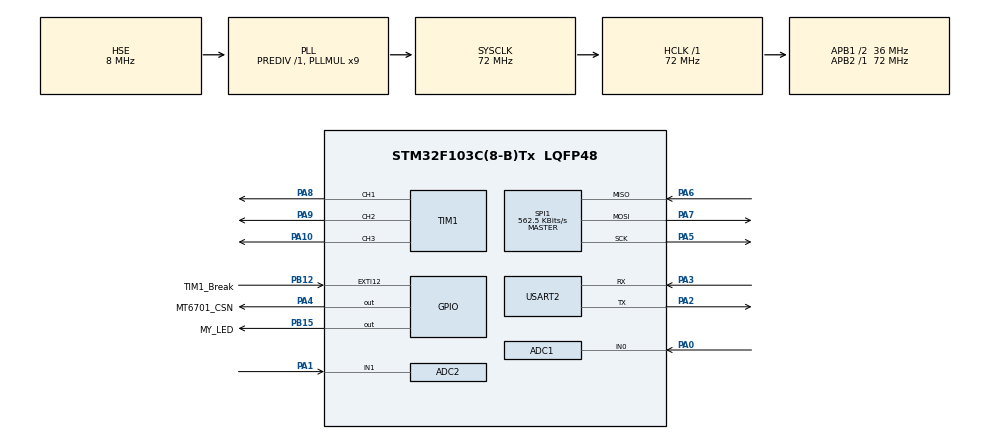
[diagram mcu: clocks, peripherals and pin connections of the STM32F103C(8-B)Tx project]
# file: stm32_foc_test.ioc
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ADC1.Channel-1\#ChannelInjectedConversion=ADC_CHANNEL_0
ADC1.ContinuousConvMode=ENABLE
ADC1.EnableAnalogWatchDog=false
ADC1.EnableInjectedConversion=ENABLE
ADC1.EnableRegularConversion=DISABLE
ADC1.ExternalTrigInjecConv=ADC_EXTERNALTRIGINJECCONV_T1_TRGO
ADC1.InjNumberOfConversion=1
ADC1.InjectedOffset-1\#ChannelInjectedConversion=0
ADC1.InjectedRank-1\#ChannelInjectedConversion=1
ADC1.Mode=ADC_DUALMODE_INJECSIMULT
ADC1.SamplingTime-1\#ChannelInjectedConversion=ADC_SAMPLETIME_7CYCLES_5
ADC1.master=1
ADC2.Channel-1\#ChannelInjectedConversion=ADC_CHANNEL_1
ADC2.ContinuousConvMode=ENABLE
ADC2.EnableInjectedConversion=ENABLE
ADC2.EnableRegularConversion=DISABLE
ADC2.InjNumberOfConversion=1
ADC2.InjectedOffset-1\#ChannelInjectedConversion=0
ADC2.InjectedRank-1\#ChannelInjectedConversion=1
ADC2.Mode=ADC_DUALMODE_INJECSIMULT
ADC2.SamplingTime-1\#ChannelInjectedConversion=ADC_SAMPLETIME_7CYCLES_5
Dma.Request0=SPI1_RX
Dma.Request1=SPI1_TX
Dma.SPI1_RX.0.Direction=DMA_PERIPH_TO_MEMORY
Dma.SPI1_RX.0.Instance=DMA1_Channel2
Dma.SPI1_RX.0.MemDataAlignment=DMA_MDATAALIGN_BYTE
Dma.SPI1_RX.0.MemInc=DMA_MINC_ENABLE
Dma.SPI1_RX.0.Mode=DMA_NORMAL
Dma.SPI1_RX.0.PeriphDataAlignment=DMA_PDATAALIGN_BYTE
Dma.SPI1_RX.0.PeriphInc=DMA_PINC_DISABLE
Dma.SPI1_RX.0.Priority=DMA_PRIORITY_LOW
Dma.SPI1_TX.1.Direction=DMA_MEMORY_TO_PERIPH
Dma.SPI1_TX.1.Instance=DMA1_Channel3
Dma.SPI1_TX.1.MemDataAlignment=DMA_MDATAALIGN_BYTE
Dma.SPI1_TX.1.MemInc=DMA_MINC_ENABLE
Dma.SPI1_TX.1.Mode=DMA_NORMAL
Dma.SPI1_TX.1.PeriphDataAlignment=DMA_PDATAALIGN_BYTE
Dma.SPI1_TX.1.PeriphInc=DMA_PINC_DISABLE
Dma.SPI1_TX.1.Priority=DMA_PRIORITY_LOW
Mcu.Family=STM32F1
Mcu.Name=STM32F103C(8-B)Tx
Mcu.Package=LQFP48
Mcu.UserConstants=speed_calc_freq,motor_speed_calc_freq;pwm_freq,motor_pwm_freq
NVIC.ADC1_2_IRQn=true\:1\:0\:true\:false\:true\:true\:true\:true
NVIC.DMA1_Channel2_IRQn=true\:0\:0\:false\:false\:true\:false\:true\:true
NVIC.DMA1_Channel3_IRQn=true\:0\:0\:false\:false\:true\:false\:true\:true
NVIC.EXTI15_10_IRQn=true\:3\:0\:true\:false\:true\:true\:true\:true
NVIC.PriorityGroup=NVIC_PRIORITYGROUP_4
NVIC.TIM1_BRK_IRQn=true\:0\:0\:false\:false\:true\:true\:true\:true
NVIC.TIM3_IRQn=true\:1\:0\:true\:false\:true\:true\:true\:true
PA0-WKUP.Signal=ADCx_IN0
PA1.Signal=ADCx_IN1
PA10.Signal=S_TIM1_CH3
PA13.Mode=Serial_Wire
PA13.Signal=SYS_JTMS-SWDIO
PA14.Mode=Serial_Wire
PA14.Signal=SYS_JTCK-SWCLK
PA2.Mode=Asynchronous
PA2.Signal=USART2_TX
PA3.Mode=Asynchronous
PA3.Signal=USART2_RX
PA4.GPIO_Label=MT6701_CSN
PA4.Signal=GPIO_Output
PA5.Mode=Full_Duplex_Master
PA5.Signal=SPI1_SCK
PA6.Mode=Full_Duplex_Master
PA6.Signal=SPI1_MISO
PA7.Mode=Full_Duplex_Master
PA7.Signal=SPI1_MOSI
PA8.Signal=S_TIM1_CH1
PA9.Signal=S_TIM1_CH2
PB12.GPIO_Label=TIM1_Break
PB12.Signal=GPXTI12
PB15.GPIO_Label=MY_LED
PB15.Signal=GPIO_Output
PD0-OSC_IN.Mode=HSE-External-Oscillator
PD0-OSC_IN.Signal=RCC_OSC_IN
PD1-OSC_OUT.Mode=HSE-External-Oscillator
PD1-OSC_OUT.Signal=RCC_OSC_OUT
ProjectManager.HeapSize=0x200
ProjectManager.StackSize=0x400
ProjectManager.TargetToolchain=MDK-ARM V5.32
RCC.ADCPresc=RCC_ADCPCLK2_DIV6
RCC.AHBFreq_Value=72000000
RCC.APB1CLKDivider=RCC_HCLK_DIV2
RCC.APB1Freq_Value=36000000
RCC.APB1TimFreq_Value=72000000
RCC.APB2Freq_Value=72000000
RCC.APB2TimFreq_Value=72000000
RCC.HCLKFreq_Value=72000000
RCC.PLLMUL=RCC_PLL_MUL9
RCC.PLLSourceVirtual=RCC_PLLSOURCE_HSE
RCC.SYSCLKFreq_VALUE=72000000
RCC.SYSCLKSource=RCC_SYSCLKSOURCE_PLLCLK
RCC.USBFreq_Value=72000000
SH.ADCx_IN0.0=ADC1_IN0,IN0
SH.ADCx_IN1.0=ADC2_IN1,IN1
SH.S_TIM1_CH1.0=TIM1_CH1,PWM Generation1 CH1
SH.S_TIM1_CH2.0=TIM1_CH2,PWM Generation2 CH2
SH.S_TIM1_CH3.0=TIM1_CH3,PWM Generation3 CH3
SPI1.BaudRatePrescaler=SPI_BAUDRATEPRESCALER_128
SPI1.CLKPhase=SPI_PHASE_2EDGE
SPI1.CalculateBaudRate=562.5 KBits/s
SPI1.Direction=SPI_DIRECTION_2LINES
SPI1.Mode=SPI_MODE_MASTER
SPI1.VirtualType=VM_MASTER
TIM1.AutoReloadPreload=TIM_AUTORELOAD_PRELOAD_ENABLE
TIM1.BreakPolarity=TIM_BREAKPOLARITY_LOW
TIM1.Channel-PWM\ Generation1\ CH1=TIM_CHANNEL_1
TIM1.Channel-PWM\ Generation2\ CH2=TIM_CHANNEL_2
TIM1.Channel-PWM\ Generation3\ CH3=TIM_CHANNEL_3
TIM1.CounterMode=TIM_COUNTERMODE_CENTERALIGNED3
TIM1.LockLevel=TIM_LOCKLEVEL_1
TIM1.Period=(72*1000000/motor_pwm_freq)
TIM1.RepetitionCounter=9
TIM1.TIM_MasterOutputTrigger=TIM_TRGO_UPDATE
TIM3.Period=1000000/speed_calc_freq
TIM3.Prescaler=72-1
USART2.VirtualMode=VM_ASYNC
VP_TIM1_VS_ClockSourceINT.Mode=Internal
VP_TIM3_VS_ClockSourceINT.Mode=Internal
board=custom

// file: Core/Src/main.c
/* USER CODE BEGIN Header */
/**
 ******************************************************************************
 * @file           : main.c
 * @brief          : Main program body
 ******************************************************************************
 * @attention
 *
 * Copyright (c) 2024 STMicroelectronics.
 * All rights reserved.
 *
 * This software is licensed under terms that can be found in the LICENSE file
 * in the root directory of this software component.
 * If no LICENSE file comes with this software, it is provided AS-IS.
 *
 ******************************************************************************
 */
// #if defined(__ARMCC_VERSION) && (__ARMCC_VERSION < 6000000)
// #error "不支持使用 Keil ARM Compiler V5编译器 请使用 Keil ARM Compiler V6编译"
// #endif
/* USER CODE END Header */
#include "main.h"
#include "adc.h"
#include "dma.h"
#include "spi.h"
#include "tim.h"
#include "usart.h"
#include "gpio.h"

/* USER CODE BEGIN Includes */
#include <stdio.h>
#include "motor/motor_runtime_param.h"
#include "motor/foc.h"
#include "global_def.h"
/* USER CODE END Includes */

void SystemClock_Config(void);

/* USER CODE BEGIN 0 */
//设置三相PWM占空比，范围0~0.9
void set_pwm_duty(float d_u, float d_v, float d_w)
{
  d_u = min(d_u, 0.9); // 留出10%的电流采样时间，只能小于0.9
  d_v = min(d_v, 0.9);
  d_w = min(d_w, 0.9);
  __disable_irq();
  __HAL_TIM_SET_COMPARE(&htim1, TIM_CHANNEL_1, d_u * htim1.Instance->ARR);
  __HAL_TIM_SET_COMPARE(&htim1, TIM_CHANNEL_2, d_v * htim1.Instance->ARR);
  __HAL_TIM_SET_COMPARE(&htim1, TIM_CHANNEL_3, d_w * htim1.Instance->ARR);
  __enable_irq();
}
/* USER CODE END 0 */

int main(void)
{

  /* MCU Configuration--------------------------------------------------------*/

  /* Reset of all peripherals, Initializes the Flash interface and the Systick. */
  HAL_Init();

  /* Configure the system clock */
  SystemClock_Config();

  /* Initialize all configured peripherals */
  MX_GPIO_Init();
  MX_DMA_Init();
  MX_SPI1_Init();
  MX_USART2_UART_Init();
  MX_TIM1_Init();
  MX_TIM3_Init();
  MX_ADC1_Init();
  MX_ADC2_Init();
  /* USER CODE BEGIN 2 */
  set_motor_pid(
      3.5, 0, 7,
      0.02, 0.001, 0,
      1.2, 0.02, 0,
      1.2, 0.02, 0);

  extern uint8_t mt6701_rx_data[3];
  HAL_GPIO_WritePin(GPIOA, GPIO_PIN_4, GPIO_PIN_RESET); // 磁编码器mt6701 SPI的片选引脚
  HAL_SPI_TransmitReceive_DMA(&hspi1, mt6701_rx_data, mt6701_rx_data, 3);
  HAL_Delay(10); // 延时一会，让角度变量被赋值，不然默认角度是0
  HAL_TIM_PWM_Start(&htim1, TIM_CHANNEL_1);
  HAL_TIM_PWM_Start(&htim1, TIM_CHANNEL_2);
  HAL_TIM_PWM_Start(&htim1, TIM_CHANNEL_3);
  HAL_TIM_Base_Start_IT(&htim3);
  HAL_ADCEx_Calibration_Start(&hadc1);
  HAL_ADCEx_Calibration_Start(&hadc2);
  HAL_ADCEx_InjectedStart_IT(&hadc1);
  HAL_ADCEx_InjectedStart(&hadc2);
  encoder_init_angle = encoder_angle; // 记录一下上电时编码器角度
  set_pwm_duty(0.5, 0, 0);            // d轴强拖，形成SVPWM模型中的基础矢量1，即对应转子零度位置
  HAL_Delay(400);                     // 保持一会，此时要保证电机处于供电状态
  rotor_zero_angle = encoder_angle;
  set_pwm_duty(0, 0, 0); // 松开电机
  HAL_Delay(100);
  /* USER CODE END 2 */

  /* Infinite loop */
  /* USER CODE BEGIN WHILE */
  // 【电流模式】 电流模式测试
  // motor_control_context.torque_norm_d = 0;
  // motor_control_context.torque_norm_q = 0.4; // 百分比强度
  // motor_control_context.type = control_type_torque;
  // HAL_Delay(1000);

  // 【位置（角度）模式】切换到位置模式
  // motor_control_context.position = deg2rad(90); // 上电时的角度当作0度
  // motor_control_context.position = deg2rad(90) - encoder_init_angle; // 编码器零位当作0度
  // motor_control_context.type = control_type_position;

  // 【速度模式】
  // motor_control_context.speed = 10;       //每秒转30弧度
  // motor_control_context.max_torque_norm = 0.2f; // 最大Iq：0.2 × MAX_CURRENT
  // motor_control_context.type = control_type_speed_torque;

  // // 力矩电流模式
  // motor_control_context.speed = 30;
  // motor_control_context.type = control_type_speed;

  // 【位置模式】（不带速度环，相当于simeple中的angle_nocascade模式）
  // 写入弧度制的位置
  // motor_control_context.position = deg2rad(10.0f);
  // motor_control_context.max_speed = 40.0f; // 最大速度40rad/s
  // motor_control_context.max_torque_norm = 0.2f;
  // motor_control_context.type = control_type_position_speed_torque;

    // 调节PID顺序：先调节电流环
    motor_control_context.torque_norm_d = 0.0f;
    motor_control_context.torque_norm_q = 0.05f;
    motor_control_context.type = control_type_torque;

  // 理论讲解以及FOC代码逐步实现讲解请前往查看：https://blog.csdn.net/qq570437459/category_12672491.html
  uint32_t vofa_tick = HAL_GetTick();
  uint32_t led_tick = HAL_GetTick();
  uint32_t event_tick = HAL_GetTick();
  motor_uart_command_start();
  while (1)
  {
    uint32_t now = HAL_GetTick();

    // 在主循环解析串口命令，避免在UART/ADC中断中执行字符串解析
    motor_uart_command_process();

    // VOFA+ FireWater格式，100Hz：目标Iq、实际Iq、目标Id、实际Id，单位均为A
    if (now - vofa_tick >= 10)
    {
      vofa_tick = now;
      printf("%.3f,%.3f,%.3f,%.3f\n",
             motor_target_i_q,
             motor_i_q,
             motor_target_i_d,
             motor_i_d);
    }

    // 非阻塞LED心跳，避免HAL_Delay降低VOFA数据刷新率
    if (now - led_tick >= 100)
    {
      led_tick = now;
      HAL_GPIO_TogglePin(GPIOB, GPIO_PIN_15);
    }

    if (now - event_tick >= 1000)
    {
      event_tick = now;
      motor_uart_event_heartbeat();
    }

    /* USER CODE END WHILE */

  }
}

void SystemClock_Config(void)
{
  RCC_OscInitTypeDef RCC_OscInitStruct = {0};
  RCC_ClkInitTypeDef RCC_ClkInitStruct = {0};
  RCC_PeriphCLKInitTypeDef PeriphClkInit = {0};

  /** Initializes the RCC Oscillators according to the specified parameters
   * in the RCC_OscInitTypeDef structure.
   */
  RCC_OscInitStruct.OscillatorType = RCC_OSCILLATORTYPE_HSE;
  RCC_OscInitStruct.HSEState = RCC_HSE_ON;
  RCC_OscInitStruct.HSEPredivValue = RCC_HSE_PREDIV_DIV1;
  RCC_OscInitStruct.HSIState = RCC_HSI_ON;
  RCC_OscInitStruct.PLL.PLLState = RCC_PLL_ON;
  RCC_OscInitStruct.PLL.PLLSource = RCC_PLLSOURCE_HSE;
  RCC_OscInitStruct.PLL.PLLMUL = RCC_PLL_MUL9;
  if (HAL_RCC_OscConfig(&RCC_OscInitStruct) != HAL_OK)
  {
    Error_Handler();
  }

  /** Initializes the CPU, AHB and APB buses clocks
   */
  RCC_ClkInitStruct.ClockType = RCC_CLOCKTYPE_HCLK | RCC_CLOCKTYPE_SYSCLK | RCC_CLOCKTYPE_PCLK1 | RCC_CLOCKTYPE_PCLK2;
  RCC_ClkInitStruct.SYSCLKSource = RCC_SYSCLKSOURCE_PLLCLK;
  RCC_ClkInitStruct.AHBCLKDivider = RCC_SYSCLK_DIV1;
  RCC_ClkInitStruct.APB1CLKDivider = RCC_HCLK_DIV2;
  RCC_ClkInitStruct.APB2CLKDivider = RCC_HCLK_DIV1;

  if (HAL_RCC_ClockConfig(&RCC_ClkInitStruct, FLASH_LATENCY_2) != HAL_OK)
  {
    Error_Handler();
  }
  PeriphClkInit.PeriphClockSelection = RCC_PERIPHCLK_ADC;
  PeriphClkInit.AdcClockSelection = RCC_ADCPCLK2_DIV6;
  if (HAL_RCCEx_PeriphCLKConfig(&PeriphClkInit) != HAL_OK)
  {
    Error_Handler();
  }
}

void Error_Handler(void)
{
  __disable_irq();
  while (1)
  {
  }
}
